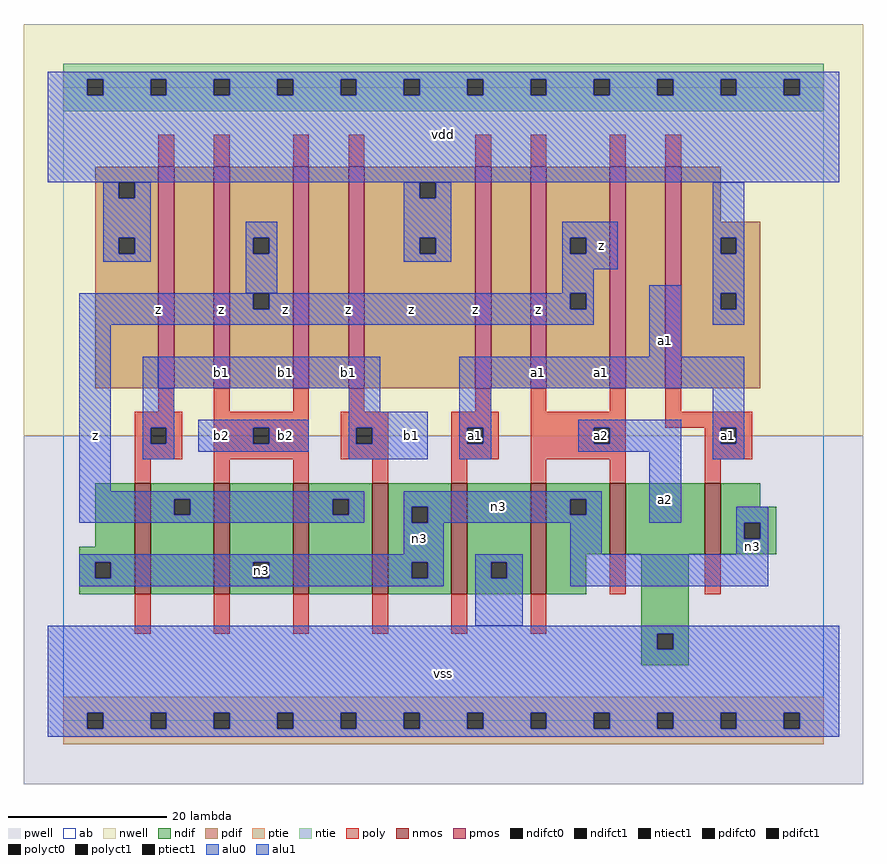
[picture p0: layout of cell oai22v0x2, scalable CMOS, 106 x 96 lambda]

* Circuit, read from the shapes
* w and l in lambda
.subckt oai22v0x2 a1 a2 b1 b2 n3 vdd vss z
M1 z b1 n3 vss nfet w=14 l=2 m=2
M2 n3 b2 z vss nfet w=14 l=2 m=2
M3 vss a1 n3 vss nfet w=14 l=2
M4 n3 a2 vss vss nfet w=14 l=2
M5 vss a2 n3 vss nfet w=9 l=2
M6 n3 a1 vss vss nfet w=9 l=2
M7 n1 b1 vdd vdd pfet w=28 l=2
M8 z b2 n1 vdd pfet w=28 l=2
M9 n2 b2 z vdd pfet w=28 l=2
M10 vdd b1 n2 vdd pfet w=28 l=2
M11 n4 a1 vdd vdd pfet w=28 l=2
M12 z a2 n4 vdd pfet w=28 l=2
M13 n5 a2 z vdd pfet w=28 l=2
M14 vdd a1 n5 vdd pfet w=28 l=2
.ends

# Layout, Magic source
magic
tech scmos
<< ab >>
rect 0 0 96 80
<< nwell >>
rect -5 36 101 88
<< pwell >>
rect -5 -8 101 36
<< poly >>
rect 12 70 14 74
rect 19 70 21 74
rect 29 70 31 74
rect 36 70 38 74
rect 52 70 54 74
rect 59 70 61 74
rect 69 70 71 74
rect 76 70 78 74
rect 12 39 14 42
rect 19 39 21 42
rect 29 39 31 42
rect 36 39 38 42
rect 52 39 54 42
rect 59 39 61 42
rect 69 39 71 42
rect 9 37 15 39
rect 9 35 11 37
rect 13 35 15 37
rect 9 33 15 35
rect 19 37 31 39
rect 19 35 24 37
rect 26 35 31 37
rect 19 33 31 35
rect 35 37 41 39
rect 35 35 37 37
rect 39 35 41 37
rect 35 33 41 35
rect 9 30 11 33
rect 19 30 21 33
rect 29 30 31 33
rect 39 30 41 33
rect 49 37 55 39
rect 49 35 51 37
rect 53 35 55 37
rect 49 33 55 35
rect 59 37 71 39
rect 76 39 78 42
rect 76 37 87 39
rect 59 35 67 37
rect 69 35 71 37
rect 59 33 71 35
rect 49 30 51 33
rect 59 30 61 33
rect 69 30 71 33
rect 81 35 83 37
rect 85 35 87 37
rect 81 33 87 35
rect 81 30 83 33
rect 69 16 71 21
rect 9 11 11 16
rect 19 11 21 16
rect 29 11 31 16
rect 39 11 41 16
rect 49 11 51 16
rect 59 11 61 16
rect 81 16 83 21
<< ndif >>
rect 4 22 9 30
rect 2 20 9 22
rect 2 18 4 20
rect 6 18 9 20
rect 2 16 9 18
rect 11 28 19 30
rect 11 26 14 28
rect 16 26 19 28
rect 11 16 19 26
rect 21 20 29 30
rect 21 18 24 20
rect 26 18 29 20
rect 21 16 29 18
rect 31 28 39 30
rect 31 26 34 28
rect 36 26 39 28
rect 31 16 39 26
rect 41 27 49 30
rect 41 25 44 27
rect 46 25 49 27
rect 41 20 49 25
rect 41 18 44 20
rect 46 18 49 20
rect 41 16 49 18
rect 51 20 59 30
rect 51 18 54 20
rect 56 18 59 20
rect 51 16 59 18
rect 61 28 69 30
rect 61 26 64 28
rect 66 26 69 28
rect 61 21 69 26
rect 71 21 81 30
rect 83 27 88 30
rect 83 25 90 27
rect 83 23 86 25
rect 88 23 90 25
rect 83 21 90 23
rect 61 16 66 21
rect 73 11 79 21
rect 73 9 75 11
rect 77 9 79 11
rect 73 7 79 9
<< pdif >>
rect 4 68 12 70
rect 4 66 7 68
rect 9 66 12 68
rect 4 61 12 66
rect 4 59 7 61
rect 9 59 12 61
rect 4 42 12 59
rect 14 42 19 70
rect 21 61 29 70
rect 21 59 24 61
rect 26 59 29 61
rect 21 54 29 59
rect 21 52 24 54
rect 26 52 29 54
rect 21 42 29 52
rect 31 42 36 70
rect 38 68 52 70
rect 38 66 45 68
rect 47 66 52 68
rect 38 61 52 66
rect 38 59 45 61
rect 47 59 52 61
rect 38 42 52 59
rect 54 42 59 70
rect 61 61 69 70
rect 61 59 64 61
rect 66 59 69 61
rect 61 54 69 59
rect 61 52 64 54
rect 66 52 69 54
rect 61 42 69 52
rect 71 42 76 70
rect 78 63 83 70
rect 78 61 88 63
rect 78 59 83 61
rect 85 59 88 61
rect 78 54 88 59
rect 78 52 83 54
rect 85 52 88 54
rect 78 42 88 52
<< alu1 >>
rect -2 81 98 82
rect -2 79 3 81
rect 5 79 11 81
rect 13 79 19 81
rect 21 79 27 81
rect 29 79 35 81
rect 37 79 43 81
rect 45 79 51 81
rect 53 79 59 81
rect 61 79 67 81
rect 69 79 75 81
rect 77 79 83 81
rect 85 79 91 81
rect 93 79 98 81
rect -2 68 98 79
rect 63 61 70 63
rect 63 59 64 61
rect 66 59 70 61
rect 63 57 70 59
rect 63 54 67 57
rect 2 52 24 54
rect 26 52 64 54
rect 66 52 67 54
rect 2 50 67 52
rect 2 29 6 50
rect 74 46 78 55
rect 12 42 40 46
rect 36 39 40 42
rect 50 42 86 46
rect 17 37 31 38
rect 17 35 24 37
rect 26 35 31 37
rect 17 34 31 35
rect 36 37 46 39
rect 36 35 37 37
rect 39 35 46 37
rect 36 33 46 35
rect 50 37 54 42
rect 50 35 51 37
rect 53 35 54 37
rect 50 33 54 35
rect 65 37 78 38
rect 65 35 67 37
rect 69 35 78 37
rect 65 34 78 35
rect 2 28 38 29
rect 2 26 14 28
rect 16 26 34 28
rect 36 26 38 28
rect 2 25 38 26
rect 74 25 78 34
rect 82 37 86 42
rect 82 35 83 37
rect 85 35 86 37
rect 82 33 86 35
rect -2 11 98 12
rect -2 9 75 11
rect 77 9 98 11
rect -2 1 98 9
rect -2 -1 3 1
rect 5 -1 11 1
rect 13 -1 19 1
rect 21 -1 27 1
rect 29 -1 35 1
rect 37 -1 43 1
rect 45 -1 51 1
rect 53 -1 59 1
rect 61 -1 67 1
rect 69 -1 75 1
rect 77 -1 83 1
rect 85 -1 91 1
rect 93 -1 98 1
rect -2 -2 98 -1
<< ptie >>
rect 0 1 96 3
rect 0 -1 3 1
rect 5 -1 11 1
rect 13 -1 19 1
rect 21 -1 27 1
rect 29 -1 35 1
rect 37 -1 43 1
rect 45 -1 51 1
rect 53 -1 59 1
rect 61 -1 67 1
rect 69 -1 75 1
rect 77 -1 83 1
rect 85 -1 91 1
rect 93 -1 96 1
rect 0 -3 96 -1
<< ntie >>
rect 0 81 96 83
rect 0 79 3 81
rect 5 79 11 81
rect 13 79 19 81
rect 21 79 27 81
rect 29 79 35 81
rect 37 79 43 81
rect 45 79 51 81
rect 53 79 59 81
rect 61 79 67 81
rect 69 79 75 81
rect 77 79 83 81
rect 85 79 91 81
rect 93 79 96 81
rect 0 77 96 79
<< nmos >>
rect 9 16 11 30
rect 19 16 21 30
rect 29 16 31 30
rect 39 16 41 30
rect 49 16 51 30
rect 59 16 61 30
rect 69 21 71 30
rect 81 21 83 30
<< pmos >>
rect 12 42 14 70
rect 19 42 21 70
rect 29 42 31 70
rect 36 42 38 70
rect 52 42 54 70
rect 59 42 61 70
rect 69 42 71 70
rect 76 42 78 70
<< polyct0 >>
rect 11 35 13 37
<< polyct1 >>
rect 24 35 26 37
rect 37 35 39 37
rect 51 35 53 37
rect 67 35 69 37
rect 83 35 85 37
<< ndifct0 >>
rect 4 18 6 20
rect 24 18 26 20
rect 44 25 46 27
rect 44 18 46 20
rect 54 18 56 20
rect 64 26 66 28
rect 86 23 88 25
<< ndifct1 >>
rect 14 26 16 28
rect 34 26 36 28
rect 75 9 77 11
<< ntiect1 >>
rect 3 79 5 81
rect 11 79 13 81
rect 19 79 21 81
rect 27 79 29 81
rect 35 79 37 81
rect 43 79 45 81
rect 51 79 53 81
rect 59 79 61 81
rect 67 79 69 81
rect 75 79 77 81
rect 83 79 85 81
rect 91 79 93 81
<< ptiect1 >>
rect 3 -1 5 1
rect 11 -1 13 1
rect 19 -1 21 1
rect 27 -1 29 1
rect 35 -1 37 1
rect 43 -1 45 1
rect 51 -1 53 1
rect 59 -1 61 1
rect 67 -1 69 1
rect 75 -1 77 1
rect 83 -1 85 1
rect 91 -1 93 1
<< pdifct0 >>
rect 7 66 9 68
rect 7 59 9 61
rect 24 59 26 61
rect 45 66 47 68
rect 45 59 47 61
rect 83 59 85 61
rect 83 52 85 54
<< pdifct1 >>
rect 24 52 26 54
rect 64 59 66 61
rect 64 52 66 54
<< alu0 >>
rect 5 66 7 68
rect 9 66 11 68
rect 5 61 11 66
rect 43 66 45 68
rect 47 66 49 68
rect 5 59 7 61
rect 9 59 11 61
rect 5 58 11 59
rect 23 61 27 63
rect 23 59 24 61
rect 26 59 27 61
rect 23 54 27 59
rect 43 61 49 66
rect 43 59 45 61
rect 47 59 49 61
rect 43 58 49 59
rect 82 61 86 68
rect 82 59 83 61
rect 85 59 86 61
rect 82 54 86 59
rect 82 52 83 54
rect 85 52 86 54
rect 82 50 86 52
rect 10 42 12 46
rect 10 37 14 42
rect 10 35 11 37
rect 13 35 14 37
rect 10 33 14 35
rect 43 28 68 29
rect 43 27 64 28
rect 43 25 44 27
rect 46 26 64 27
rect 66 26 68 28
rect 46 25 68 26
rect 85 25 89 27
rect 43 21 48 25
rect 64 21 68 25
rect 85 23 86 25
rect 88 23 89 25
rect 85 21 89 23
rect 2 20 48 21
rect 2 18 4 20
rect 6 18 24 20
rect 26 18 44 20
rect 46 18 48 20
rect 2 17 48 18
rect 52 20 58 21
rect 52 18 54 20
rect 56 18 58 20
rect 52 12 58 18
rect 64 17 89 21
<< labels >>
rlabel alu0 45 23 45 23 6 n3
rlabel ndifct0 25 19 25 19 6 n3
rlabel alu0 55 27 55 27 6 n3
rlabel alu0 87 22 87 22 6 n3
rlabel alu1 4 36 4 36 6 z
rlabel alu1 12 52 12 52 6 z
rlabel alu1 20 36 20 36 6 b2
rlabel alu1 20 44 20 44 6 b1
rlabel alu1 28 36 28 36 6 b2
rlabel alu1 28 44 28 44 6 b1
rlabel alu1 28 52 28 52 6 z
rlabel alu1 20 52 20 52 6 z
rlabel alu1 48 6 48 6 6 vss
rlabel alu1 36 44 36 44 6 b1
rlabel alu1 44 36 44 36 6 b1
rlabel polyct1 52 36 52 36 6 a1
rlabel alu1 44 52 44 52 6 z
rlabel alu1 52 52 52 52 6 z
rlabel alu1 36 52 36 52 6 z
rlabel alu1 48 74 48 74 6 vdd
rlabel alu1 76 28 76 28 6 a2
rlabel alu1 60 44 60 44 6 a1
rlabel polyct1 68 36 68 36 6 a2
rlabel alu1 68 44 68 44 6 a1
rlabel alu1 76 48 76 48 6 a1
rlabel alu1 60 52 60 52 6 z
rlabel alu1 68 60 68 60 6 z
rlabel polyct1 84 36 84 36 6 a1
<< end >>
